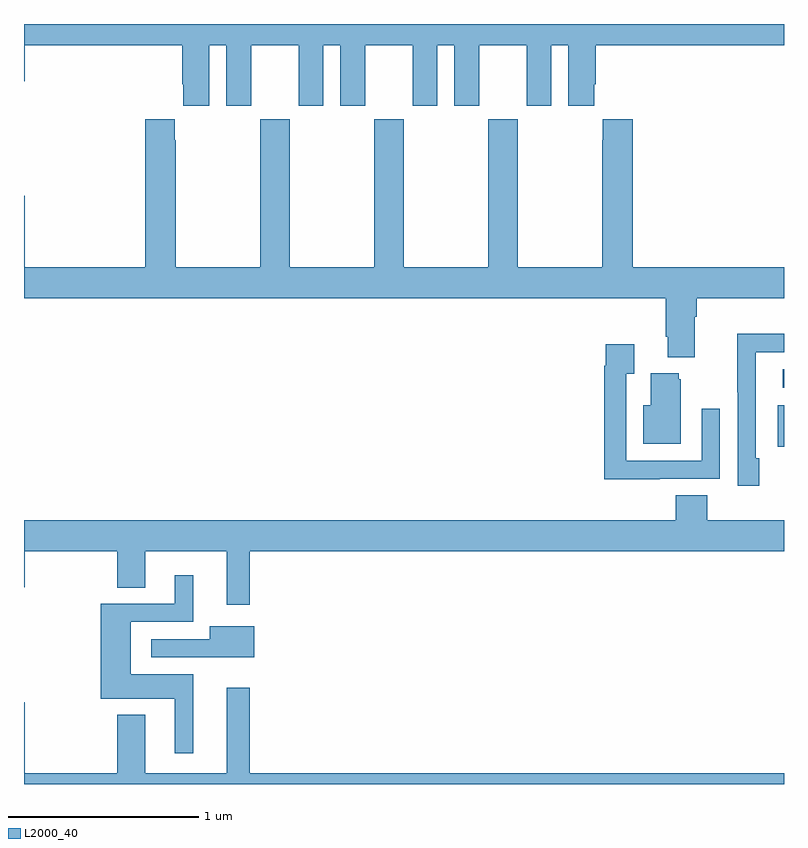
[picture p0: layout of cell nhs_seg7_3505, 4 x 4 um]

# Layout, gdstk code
import gdstk
lib = gdstk.Library(unit=1e-6, precision=1e-09)
def R(c, l, rs):  # rectangles x0, y0, x1, y1
    for r in rs: c.add(gdstk.rectangle(r[:2], r[2:], *l))
def P(c, l, *ps):  # polygons
    for p in ps: c.add(gdstk.Polygon(p, *l))
L2000_40 = (2000, 40)

nhs_seg7_3505 = lib.new_cell('nhs_seg7_3505')
R(nhs_seg7_3505, L2000_40, [(336.968,1059.775,337,1059.994), (336.993,1060.086,337,1060.182)])
P(nhs_seg7_3505, L2000_40, [(333.976,1061.888),(334.064,1061.888),(334.064,1061.571),(334.195,1061.571),(334.195,1061.888),(334.445,1061.888),(334.445,1061.571),(334.576,1061.571),(334.576,1061.888),(334.664,1061.888),(334.664,1061.571),(334.795,1061.571),(334.795,1061.888),(335.045,1061.888),(335.045,1061.571),(335.176,1061.571),(335.176,1061.888),(335.264,1061.888),(335.264,1061.571),(335.395,1061.571),(335.395,1061.888),(335.645,1061.888),(335.645,1061.571),(335.776,1061.571),(335.776,1061.888),(335.864,1061.888),(335.864,1061.571),(336.001,1061.571),(336.001,1061.683),(336.008,1061.683),(336.008,1061.888),(337,1061.888),(337,1062),(333,1062),(333,1061.7),(333.004,1061.7),(333.004,1061.888),(333.833,1061.888),(333.833,1061.683),(333.839,1061.683),(333.839,1061.571),(333.976,1061.571)],
  [(336.529,1060.46),(336.542,1060.46),(336.542,1060.556),(337,1060.556),(337,1060.72),(336.203,1060.72),(336.203,1061.5),(336.047,1061.5),(336.047,1061.387),(336.043,1061.387),(336.043,1060.72),(335.598,1060.72),(335.598,1061.5),(335.443,1061.5),(335.443,1060.72),(334.998,1060.72),(334.998,1061.5),(334.843,1061.5),(334.843,1060.72),(334.398,1060.72),(334.398,1061.5),(334.243,1061.5),(334.243,1060.72),(333.798,1060.72),(333.798,1061.387),(333.793,1061.387),(333.793,1061.5),(333.638,1061.5),(333.638,1060.72),(333.004,1060.72),(333.004,1061.095),(333,1061.095),(333,1060.556),(336.377,1060.556),(336.377,1060.354),(336.389,1060.354),(336.389,1060.247),(336.529,1060.247)],
  [(336.871,1059.714),(336.852,1059.714),(336.852,1060.272),(337,1060.272),(337,1060.37),(336.754,1060.37),(336.754,1060.063),(336.756,1060.063),(336.756,1059.57),(336.871,1059.57)],
  [(336.347,1059.606),(336.663,1059.606),(336.663,1059.976),(336.567,1059.976),(336.567,1059.702),(336.171,1059.702),(336.171,1060.159),(336.211,1060.159),(336.211,1060.315),(336.063,1060.315),(336.063,1060.202),(336.055,1060.202),(336.055,1059.605),(336.347,1059.605)],
  [(336.457,1060.131),(336.446,1060.131),(336.446,1060.162),(336.299,1060.162),(336.299,1059.994),(336.26,1059.994),(336.26,1059.791),(336.457,1059.791)],
  [(334.189,1059.224),(337,1059.224),(337,1059.388),(336.596,1059.388),(336.596,1059.521),(336.431,1059.521),(336.431,1059.388),(333,1059.388),(333,1059.036),(333.004,1059.036),(333.004,1059.224),(333.49,1059.224),(333.49,1059.034),(333.637,1059.034),(333.637,1059.224),(334.067,1059.224),(334.067,1058.943),(334.189,1058.943)],
  [(333.892,1058.578),(333.562,1058.578),(333.562,1058.853),(333.892,1058.853),(333.892,1059.1),(333.794,1059.1),(333.794,1058.949),(333.404,1058.949),(333.404,1058.45),(333.794,1058.45),(333.794,1058.163),(333.892,1058.163)],
  [(334.213,1058.83),(333.977,1058.83),(333.977,1058.763),(333.669,1058.763),(333.669,1058.667),(333.981,1058.667),(333.981,1058.666),(334.213,1058.666)],
  [(334.189,1058.506),(334.067,1058.506),(334.067,1058.056),(333.637,1058.056),(333.637,1058.365),(333.49,1058.365),(333.49,1058.056),(333.004,1058.056),(333.004,1058.431),(333,1058.431),(333,1058),(337,1058),(337,1058.056),(334.189,1058.056)])

lib.write_gds('nhs_seg7_3505.gds')
